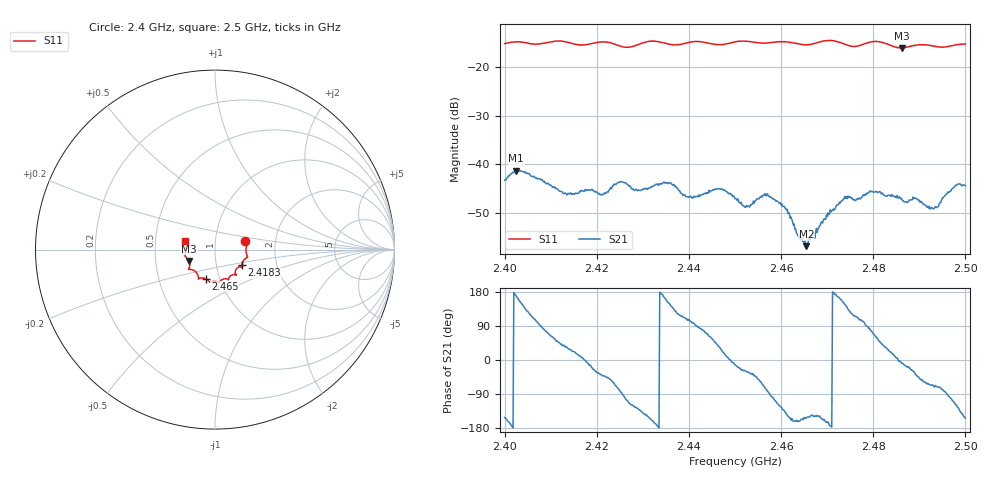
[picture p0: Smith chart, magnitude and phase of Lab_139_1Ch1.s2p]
# Hz S RI R 50
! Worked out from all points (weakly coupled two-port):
!   601 points, 2.4 GHz to 2.5 GHz, reference 50 ohm
!   highest |S21| = -41.32 dB at 2.4025 GHz (marker M1); lowest = -56.9 dB at 2.4655 GHz (marker M2)
!   lowest |S11| = -16.0 dB at 2.4862 GHz (marker M3), VSWR 1.38, Z = 37.1 - j4.84 ohm
!   |S11| at or under -10 dB: start of sweep to end of sweep
!   S12 and S22 are empty: the file has one direction only
!   S11 on the Smith chart (normalised r, x): 2.4 GHz: 1.40, +0.13; 2.4183 GHz: 1.33, -0.24; 2.465 GHz: 0.86, -0.29; 2.5 GHz: 0.71, +0.07
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2.4e9  0.1689 0.0457  -0.00603 -0.00327  0 0  0 0
2.4025e9  0.1796 0.0346  -0.00843 0.00163  0 0  0 0
2.413167e9  0.1777 -0.0446  0.0041 0.00298  0 0  0 0
2.416667e9  0.155 -0.0683  0.00534 0.000713  0 0  0 0
2.418333e9  0.15 -0.0868  0.00527 -0.00128  0 0  0 0
2.433333e9  0.1166 -0.1414  -0.00606 -0.000458  0 0  0 0
2.436333e9  0.0962 -0.1411  -0.00481 0.00401  0 0  0 0
2.439833e9  0.0762 -0.1623  -0.00126 0.00448  0 0  0 0
2.446667e9  0.0467 -0.1643  0.00466 0.00315  0 0  0 0
2.45e9  0.025 -0.1807  0.00433 -0.000942  0 0  0 0
2.452667e9  0.0193 -0.1838  0.00313 -0.0019  0 0  0 0
2.4575e9  -0.0139 -0.1779  7.3e-05 -0.00461  0 0  0 0
2.461167e9  -0.0305 -0.1799  -0.00267 -0.00205  0 0  0 0
2.465e9  -0.0527 -0.1621  -0.00139 -0.000747  0 0  0 0
2.4655e9  -0.0582 -0.16  -0.00127 -0.000669  0 0  0 0
2.466667e9  -0.0714 -0.1577  -0.00154 -0.00104  0 0  0 0
2.474e9  -0.0957 -0.1422  -0.00364 0.00258  0 0  0 0
2.483333e9  -0.1419 -0.096  0.00433 0.00201  0 0  0 0
2.486167e9  -0.1446 -0.0637  0.0044 -0.000678  0 0  0 0
2.492833e9  -0.1646 -0.0207  0.00146 -0.00323  0 0  0 0
2.498e9  -0.1664 0.0361  -0.00289 -0.00532  0 0  0 0
2.5e9  -0.1664 0.047  -0.0054 -0.00267  0 0  0 0
